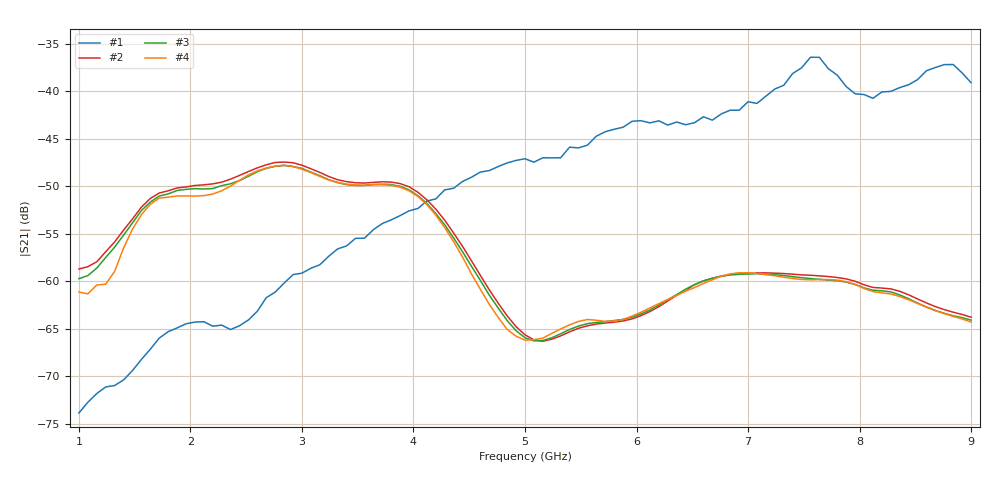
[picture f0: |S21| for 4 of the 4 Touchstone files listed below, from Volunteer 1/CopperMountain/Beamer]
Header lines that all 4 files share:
# Hz S DB R 50
! CMT, C1420, 19038819, 22.4.2/3
! Data: Format (Calibration Info)
! Freq	S11:dB/Ang(F2)	S21:dB/Ang(F2)	S12:dB/Ang(F2)	S22:dB/Ang(F2)
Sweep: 1 GHz to 9 GHz
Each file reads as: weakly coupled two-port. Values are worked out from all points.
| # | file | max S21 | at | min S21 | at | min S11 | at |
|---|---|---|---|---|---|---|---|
| 1 | Air.s2p | -36.42 dB | 7.56 GHz | -73.9 dB | 1 GHz | -9.1 dB | 8.76 GHz |
| 2 | M1.s2p | -47.45 dB | 2.84 GHz | -66.3 dB | 5.16 GHz | -11.2 dB | 8.2 GHz |
| 3 | M2.s2p | -47.80 dB | 2.84 GHz | -66.3 dB | 5.08 GHz | -11.1 dB | 8.2 GHz |
| 4 | M3.s2p | -47.81 dB | 2.84 GHz | -66.2 dB | 5 GHz | -11.1 dB | 7.96 GHz |
